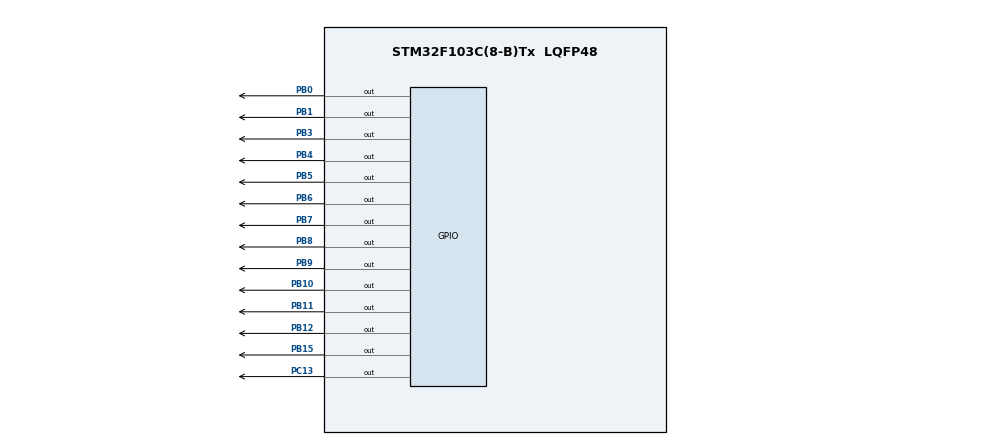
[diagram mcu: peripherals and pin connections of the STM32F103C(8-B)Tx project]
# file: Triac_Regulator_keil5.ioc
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Mcu.Family=STM32F1
Mcu.Name=STM32F103C(8-B)Tx
Mcu.Package=LQFP48
NVIC.PriorityGroup=NVIC_PRIORITYGROUP_4
PA13.Mode=Serial_Wire
PA13.Signal=SYS_JTMS-SWDIO
PA14.Mode=Serial_Wire
PA14.Signal=SYS_JTCK-SWCLK
PB0.Signal=GPIO_Output
PB1.GPIO_ModeDefaultOutputPP=GPIO_MODE_OUTPUT_PP
PB1.Signal=GPIO_Output
PB10.GPIO_ModeDefaultOutputPP=GPIO_MODE_OUTPUT_OD
PB10.Signal=GPIO_Output
PB11.GPIO_ModeDefaultOutputPP=GPIO_MODE_OUTPUT_OD
PB11.Signal=GPIO_Output
PB12.GPIO_ModeDefaultOutputPP=GPIO_MODE_OUTPUT_OD
PB12.Signal=GPIO_Output
PB15.GPIO_ModeDefaultOutputPP=GPIO_MODE_OUTPUT_OD
PB15.Signal=GPIO_Output
PB3.GPIO_ModeDefaultOutputPP=GPIO_MODE_OUTPUT_PP
PB3.Signal=GPIO_Output
PB4.Signal=GPIO_Output
PB5.GPIO_ModeDefaultOutputPP=GPIO_MODE_OUTPUT_OD
PB5.Signal=GPIO_Output
PB6.GPIO_ModeDefaultOutputPP=GPIO_MODE_OUTPUT_OD
PB6.Signal=GPIO_Output
PB7.GPIO_ModeDefaultOutputPP=GPIO_MODE_OUTPUT_OD
PB7.Signal=GPIO_Output
PB8.GPIO_ModeDefaultOutputPP=GPIO_MODE_OUTPUT_OD
PB8.Signal=GPIO_Output
PB9.GPIO_ModeDefaultOutputPP=GPIO_MODE_OUTPUT_OD
PB9.Signal=GPIO_Output
PC13-TAMPER-RTC.Signal=GPIO_Output
ProjectManager.HeapSize=0x200
ProjectManager.StackSize=0x400
ProjectManager.TargetToolchain=MDK-ARM V5
RCC.APB1Freq_Value=8000000
RCC.APB2Freq_Value=8000000
TIM3.Period=1000
TIM3.Prescaler=7
TIM3.TIM_MasterOutputTrigger=TIM_TRGO_UPDATE
VP_TIM3_VS_ClockSourceINT.Mode=Internal
board=Triac_Regulator_keil5

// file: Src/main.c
/**
  ******************************************************************************
  * File Name          : main.c
  * Description        : Main program body
  ******************************************************************************
  ** This notice applies to any and all portions of this file
  * that are not between comment pairs USER CODE BEGIN and
  * USER CODE END. Other portions of this file, whether
  * inserted by the user or by software development tools
  * are owned by their respective copyright owners.
  *
  * COPYRIGHT(c) 2017 STMicroelectronics
  *
  * Redistribution and use in source and binary forms, with or without modification,
  * are permitted provided that the following conditions are met:
  *   1. Redistributions of source code must retain the above copyright notice,
  *      this list of conditions and the following disclaimer.
  *   2. Redistributions in binary form must reproduce the above copyright notice,
  *      this list of conditions and the following disclaimer in the documentation
  *      and/or other materials provided with the distribution.
  *   3. Neither the name of STMicroelectronics nor the names of its contributors
  *      may be used to endorse or promote products derived from this software
  *      without specific prior written permission.
  *
  * THIS SOFTWARE IS PROVIDED BY THE COPYRIGHT HOLDERS AND CONTRIBUTORS "AS IS"
  * AND ANY EXPRESS OR IMPLIED WARRANTIES, INCLUDING, BUT NOT LIMITED TO, THE
  * IMPLIED WARRANTIES OF MERCHANTABILITY AND FITNESS FOR A PARTICULAR PURPOSE ARE
  * DISCLAIMED. IN NO EVENT SHALL THE COPYRIGHT HOLDER OR CONTRIBUTORS BE LIABLE
  * FOR ANY DIRECT, INDIRECT, INCIDENTAL, SPECIAL, EXEMPLARY, OR CONSEQUENTIAL
  * DAMAGES (INCLUDING, BUT NOT LIMITED TO, PROCUREMENT OF SUBSTITUTE GOODS OR
  * SERVICES; LOSS OF USE, DATA, OR PROFITS; OR BUSINESS INTERRUPTION) HOWEVER
  * CAUSED AND ON ANY THEORY OF LIABILITY, WHETHER IN CONTRACT, STRICT LIABILITY,
  * OR TORT (INCLUDING NEGLIGENCE OR OTHERWISE) ARISING IN ANY WAY OUT OF THE USE
  * OF THIS SOFTWARE, EVEN IF ADVISED OF THE POSSIBILITY OF SUCH DAMAGE.
  *
  ******************************************************************************
  */
#include "main.h"
#include "stm32f1xx_hal.h"

/* USER CODE BEGIN Includes */
#include "time.h"
#include "DynamicIndication.h"
#include "LED.h"
#include "PID.h"
#include "DS18B20.h"
#include "DiscretControl.h"
/* USER CODE END Includes */

TIM_HandleTypeDef htim3;

void SystemClock_Config(void);
static void MX_GPIO_Init(void);
static void MX_TIM3_Init(void);

/* USER CODE BEGIN PFP */
/* Private function prototypes -----------------------------------------------*/

/* USER CODE END PFP */

uint8_t waitflg = 0;
float temperature;
float PID_Output;
int main(void)
{

  /* MCU Configuration----------------------------------------------------------*/

  /* Reset of all peripherals, Initializes the Flash interface and the Systick. */
  HAL_Init();

  /* Configure the system clock */
  SystemClock_Config();

  /* Initialize all configured peripherals */
  MX_GPIO_Init();
  MX_TIM3_Init();

  /* USER CODE BEGIN 2 */
	HAL_TIM_Base_Start(&htim3);
  /* USER CODE END 2 */

  /* Infinite loop */
  /* USER CODE BEGIN WHILE */
	HAL_GPIO_WritePin(ANODE1_GPIO,ANODE1_GPIO_PIN,GPIO_PIN_SET);
	HAL_GPIO_WritePin(CATHODE_A_GPIO,CATHODE_A_GPIO_PIN|CATHODE_B_GPIO_PIN|CATHODE_C_GPIO_PIN|CATHODE_D_GPIO_PIN|CATHODE_E_GPIO_PIN|CATHODE_F_GPIO_PIN|CATHODE_G_GPIO_PIN|CATHODE_DP_GPIO_PIN,GPIO_PIN_SET);
	TimeInit();
	TimersInc();
	uint8_t myTimer=Timer8Alloc();
	float myValue = 0;
	StartTimer8(myTimer, 100);
	while (1)
  {
  /* USER CODE END WHILE */

  /* USER CODE BEGIN 3 */
				TimersInc();
		if(Timer8Stopp(myTimer)){
			myValue++;
				StartTimer8(myTimer, 100);
		}
		DS18B20_App();
		temperature = readTemperature();
		PID_Tk_RAM.Setpoint = 300;
		PID_Tk_RAM.Actual = temperature;
		PID(&PID_Tk_RAM, &PID_Tk_EEP);
		PID_Output = PID_Tk_RAM.Output;
		showValue(temperature);
		POWER_App(PID_Output);
		//showValue(myValue);
		//LED_App();

  }

  /* USER CODE END 3 */
}

/** System Clock Configuration
*/
void SystemClock_Config(void)
{

  RCC_OscInitTypeDef RCC_OscInitStruct;
  RCC_ClkInitTypeDef RCC_ClkInitStruct;

    /**Initializes the CPU, AHB and APB busses clocks
    */
  RCC_OscInitStruct.OscillatorType = RCC_OSCILLATORTYPE_HSI;
  RCC_OscInitStruct.HSIState = RCC_HSI_ON;
  RCC_OscInitStruct.HSICalibrationValue = 16;
  RCC_OscInitStruct.PLL.PLLState = RCC_PLL_NONE;
  if (HAL_RCC_OscConfig(&RCC_OscInitStruct) != HAL_OK)
  {
    _Error_Handler(__FILE__, __LINE__);
  }

    /**Initializes the CPU, AHB and APB busses clocks
    */
  RCC_ClkInitStruct.ClockType = RCC_CLOCKTYPE_HCLK|RCC_CLOCKTYPE_SYSCLK
                              |RCC_CLOCKTYPE_PCLK1|RCC_CLOCKTYPE_PCLK2;
  RCC_ClkInitStruct.SYSCLKSource = RCC_SYSCLKSOURCE_HSI;
  RCC_ClkInitStruct.AHBCLKDivider = RCC_SYSCLK_DIV1;
  RCC_ClkInitStruct.APB1CLKDivider = RCC_HCLK_DIV1;
  RCC_ClkInitStruct.APB2CLKDivider = RCC_HCLK_DIV1;

  if (HAL_RCC_ClockConfig(&RCC_ClkInitStruct, FLASH_LATENCY_0) != HAL_OK)
  {
    _Error_Handler(__FILE__, __LINE__);
  }

    /**Configure the Systick interrupt time
    */
  HAL_SYSTICK_Config(HAL_RCC_GetHCLKFreq()/1000);

    /**Configure the Systick
    */
  HAL_SYSTICK_CLKSourceConfig(SYSTICK_CLKSOURCE_HCLK);

  /* SysTick_IRQn interrupt configuration */
  HAL_NVIC_SetPriority(SysTick_IRQn, 0, 0);
}

/* TIM3 init function */
static void MX_TIM3_Init(void)
{

  TIM_ClockConfigTypeDef sClockSourceConfig;
  TIM_MasterConfigTypeDef sMasterConfig;

  htim3.Instance = TIM3;
  htim3.Init.Prescaler = 7;
  htim3.Init.CounterMode = TIM_COUNTERMODE_UP;
  htim3.Init.Period = 1000;
  htim3.Init.ClockDivision = TIM_CLOCKDIVISION_DIV1;
  htim3.Init.AutoReloadPreload = TIM_AUTORELOAD_PRELOAD_DISABLE;
  if (HAL_TIM_Base_Init(&htim3) != HAL_OK)
  {
    _Error_Handler(__FILE__, __LINE__);
  }

  sClockSourceConfig.ClockSource = TIM_CLOCKSOURCE_INTERNAL;
  if (HAL_TIM_ConfigClockSource(&htim3, &sClockSourceConfig) != HAL_OK)
  {
    _Error_Handler(__FILE__, __LINE__);
  }

  sMasterConfig.MasterOutputTrigger = TIM_TRGO_UPDATE;
  sMasterConfig.MasterSlaveMode = TIM_MASTERSLAVEMODE_DISABLE;
  if (HAL_TIMEx_MasterConfigSynchronization(&htim3, &sMasterConfig) != HAL_OK)
  {
    _Error_Handler(__FILE__, __LINE__);
  }

}

/** Configure pins as
        * Analog
        * Input
        * Output
        * EVENT_OUT
        * EXTI
*/
static void MX_GPIO_Init(void)
{

  GPIO_InitTypeDef GPIO_InitStruct;

  /* GPIO Ports Clock Enable */
  __HAL_RCC_GPIOC_CLK_ENABLE();
  __HAL_RCC_GPIOB_CLK_ENABLE();
  __HAL_RCC_GPIOA_CLK_ENABLE();

  /*Configure GPIO pin Output Level */
  HAL_GPIO_WritePin(GPIOC, GPIO_PIN_13, GPIO_PIN_RESET);

  /*Configure GPIO pin Output Level */
  HAL_GPIO_WritePin(GPIOB, GPIO_PIN_0|GPIO_PIN_1|GPIO_PIN_10|GPIO_PIN_11
                          |GPIO_PIN_12|GPIO_PIN_15|GPIO_PIN_3|GPIO_PIN_4
                          |GPIO_PIN_5|GPIO_PIN_6|GPIO_PIN_7|GPIO_PIN_8
                          |GPIO_PIN_9, GPIO_PIN_RESET);

  /*Configure GPIO pin : PC13 */
  GPIO_InitStruct.Pin = GPIO_PIN_13;
  GPIO_InitStruct.Mode = GPIO_MODE_OUTPUT_PP;
  GPIO_InitStruct.Speed = GPIO_SPEED_FREQ_LOW;
  HAL_GPIO_Init(GPIOC, &GPIO_InitStruct);

  /*Configure GPIO pins : PB0 PB1 PB3 PB4 */
  GPIO_InitStruct.Pin = GPIO_PIN_0|GPIO_PIN_1|GPIO_PIN_3|GPIO_PIN_4;
  GPIO_InitStruct.Mode = GPIO_MODE_OUTPUT_PP;
  GPIO_InitStruct.Speed = GPIO_SPEED_FREQ_LOW;
  HAL_GPIO_Init(GPIOB, &GPIO_InitStruct);

  /*Configure GPIO pins : PB10 PB11 PB12 PB15
                           PB5 PB6 PB7 PB8
                           PB9 */
  GPIO_InitStruct.Pin = GPIO_PIN_10|GPIO_PIN_11|GPIO_PIN_12|GPIO_PIN_15
                          |GPIO_PIN_5|GPIO_PIN_6|GPIO_PIN_7|GPIO_PIN_8
                          |GPIO_PIN_9;
  GPIO_InitStruct.Mode = GPIO_MODE_OUTPUT_OD;
  GPIO_InitStruct.Speed = GPIO_SPEED_FREQ_LOW;
  HAL_GPIO_Init(GPIOB, &GPIO_InitStruct);

}

void _Error_Handler(char * file, int line)
{
  while(1)
  {
  }
}

/************************ (C) COPYRIGHT STMicroelectronics *****END OF FILE****/
